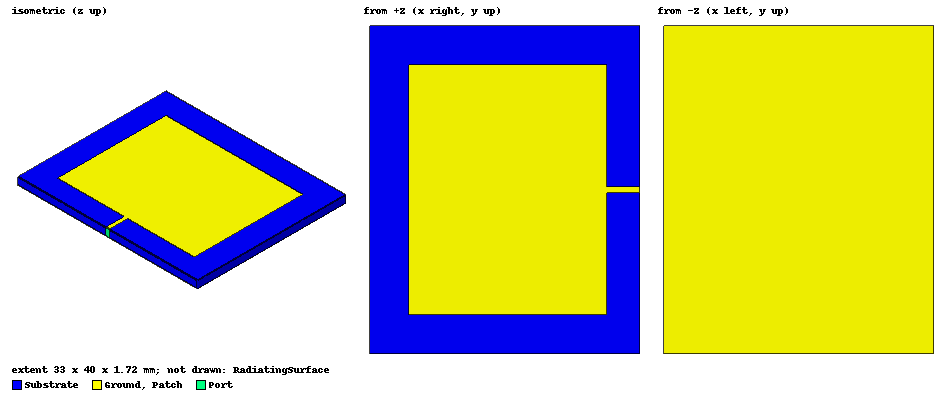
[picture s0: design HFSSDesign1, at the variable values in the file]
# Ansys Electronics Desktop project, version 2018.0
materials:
  vacuum: permittivity=1
  FR4_epoxy: permittivity=4.4 dielectric_loss_tangent=0.02
  copper: permeability=0.999991 conductivity=58000000

design HFSSDesign1 (HFSS, DrivenModal, model units mm)
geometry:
  Ground [copper] = box(corner=(0mm, 0mm, 0mm), size=(33mm, 40mm, 0.035mm))
  Substrate [FR4_epoxy] = box(corner=(0mm, 0mm, 0.035mm), size=(33mm, 40mm, 1.6mm))
  RadiatingSurface [vacuum] = region(absolute_offset=40mm on all sides)
  Patch [copper] = box(corner=(4.8mm, 4.8mm, 1.685mm), size=(24.12mm, 30.4mm, 0.035mm))
  MicroStrip = box(corner=(28.2mm, 19.625mm, 1.685mm), size=(4.8mm, 0.75mm, 0.035mm))
  Patch.unite(MicroStrip)
  Port = rectangle(corner=(33mm, 19.625mm, 0mm), y_size=0.75mm, z_size=1.685mm)
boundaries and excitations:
  Open1: Radiation Objects=RadiatingSurface
  1: Lumped Port Objects=Port Modes{Mode1{IntLine{middle of Substrate.edge(5 of 12) -> middle of Substrate.edge(1 of 12)} CharImp=Zpi RenormImp=50ohm}} Impedance=50ohm
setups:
  Setup1: HfssDriven Frequency=3.2GHz MaxDeltaS=0.01 MaximumPasses=10 MinimumPasses=1 MinimumConvergedPasses=1 PercentRefinement=30 BasisOrder=1 PortAccuracy=2
    sweep Sweep: 1.5GHz to 4.5GHz, 151 points; Type=Discrete SaveFields
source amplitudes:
  1:1: 1W 0deg
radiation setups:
  3D: Infinite Sphere Theta=-180deg..180deg step 2deg Phi=-180deg..180deg step 2deg
  Elevation: Infinite Sphere Theta=-180deg..180deg step 1deg Phi=0deg..90deg step 90deg
  Azimuth: Infinite Sphere Theta=90deg..90deg step 0deg Phi=-180deg..180deg step 1deg
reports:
  S Parameter Plot 1: dB(S(1,1)) vs Freq on Setup1 : Sweep
  Gain Plot 1: dB(GainTotal) vs Theta on Setup1 : Sweep, 3D [Phi=0deg Freq=3GHz]
  Gain Plot 2: dB(GainTotal) vs Theta on Setup1 : Sweep, 3D [Phi=0deg Freq=3GHz]
